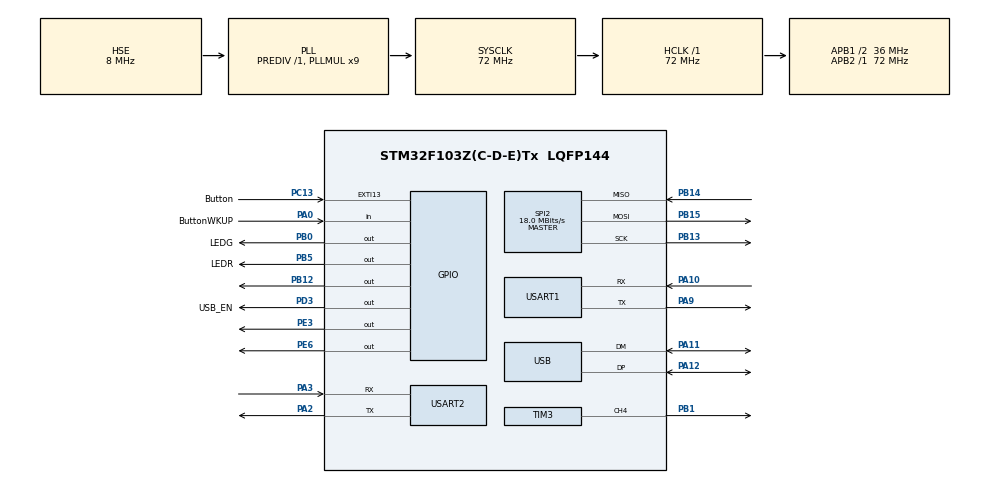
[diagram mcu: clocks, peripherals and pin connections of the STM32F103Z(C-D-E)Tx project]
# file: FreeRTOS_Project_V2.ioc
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Dma.Request0=USART2_RX
Dma.USART2_RX.0.Direction=DMA_PERIPH_TO_MEMORY
Dma.USART2_RX.0.Instance=DMA1_Channel6
Dma.USART2_RX.0.MemDataAlignment=DMA_MDATAALIGN_BYTE
Dma.USART2_RX.0.MemInc=DMA_MINC_ENABLE
Dma.USART2_RX.0.Mode=DMA_CIRCULAR
Dma.USART2_RX.0.PeriphDataAlignment=DMA_PDATAALIGN_BYTE
Dma.USART2_RX.0.PeriphInc=DMA_PINC_DISABLE
Dma.USART2_RX.0.Priority=DMA_PRIORITY_LOW
FREERTOS.BinarySemaphores01=BinarySemButton,Dynamic,NULL,Depleted;BinarySemUart,Dynamic,NULL,Depleted
FREERTOS.Events01=LedTriggerEvent,Dynamic,NULL;UartEvent,Dynamic,NULL
FREERTOS.INCLUDE_xTaskGetHandle=1
FREERTOS.Queues01=CommandQueue,32,Command_t *,0,Dynamic,NULL,NULL;ResponseQueue,16,Response_t *,0,Dynamic,NULL,NULL
FREERTOS.Tasks01=HidTask,24,128,HidAdapterTask,As weak,NULL,Dynamic,NULL,NULL;UartTask,40,128,UartAdapterTask,As weak,NULL,Dynamic,NULL,NULL;ButtonTask,24,128,ButtonAdapterTask,As weak,NULL,Dynamic,NULL,NULL;CommandDispTask,41,128,CommandDispatcherTask,As weak,NULL,Dynamic,NULL,NULL;RespoMangerTask,41,128,ResponseManagerTask,As weak,NULL,Dynamic,NULL,NULL
FREERTOS.Timers01=BreathLedTimer,BreathLedCallback,osTimerPeriodic,As weak,NULL,Dynamic,NULL;BrtLedStaTimer,BrtLedStaCallback,osTimerOnce,As weak,NULL,Dynamic,NULL
FREERTOS.configMAX_TASK_NAME_LEN=32
FREERTOS.configRECORD_STACK_HIGH_ADDRESS=1
FREERTOS.configTOTAL_HEAP_SIZE=16384
FREERTOS.configUSE_STATS_FORMATTING_FUNCTIONS=1
Mcu.Family=STM32F1
Mcu.Name=STM32F103Z(C-D-E)Tx
Mcu.Package=LQFP144
NVIC.DMA1_Channel6_IRQn=true\:5\:0\:false\:false\:true\:true\:false\:true\:true
NVIC.EXTI15_10_IRQn=true\:5\:0\:false\:false\:true\:true\:true\:true\:true
NVIC.PriorityGroup=NVIC_PRIORITYGROUP_4
NVIC.TIM7_IRQn=true\:15\:0\:false\:false\:true\:false\:false\:true\:true
NVIC.TimeBase=TIM7_IRQn
NVIC.TimeBaseIP=TIM7
NVIC.USART1_IRQn=true\:5\:0\:false\:false\:true\:true\:true\:true\:true
NVIC.USART2_IRQn=true\:5\:0\:false\:false\:true\:true\:true\:true\:true
NVIC.USB_LP_CAN1_RX0_IRQn=true\:5\:0\:false\:false\:true\:true\:false\:true\:true
OSC_IN.Mode=HSE-External-Oscillator
OSC_IN.Signal=RCC_OSC_IN
OSC_OUT.Mode=HSE-External-Oscillator
OSC_OUT.Signal=RCC_OSC_OUT
PA0-WKUP.GPIO_Label=ButtonWKUP
PA0-WKUP.GPIO_PuPd=GPIO_PULLDOWN
PA0-WKUP.Signal=GPIO_Input
PA10.Mode=Asynchronous
PA10.Signal=USART1_RX
PA11.Mode=Device
PA11.Signal=USB_DM
PA12.Mode=Device
PA12.Signal=USB_DP
PA13.Mode=Serial_Wire
PA13.Signal=SYS_JTMS-SWDIO
PA14.Mode=Serial_Wire
PA14.Signal=SYS_JTCK-SWCLK
PA2.Mode=Asynchronous
PA2.Signal=USART2_TX
PA3.Mode=Asynchronous
PA3.Signal=USART2_RX
PA9.Mode=Asynchronous
PA9.Signal=USART1_TX
PB0.GPIO_Label=LEDG
PB0.Signal=GPIO_Output
PB1.Signal=S_TIM3_CH4
PB12.GPIO_Speed=GPIO_SPEED_FREQ_HIGH
PB12.Signal=GPIO_Output
PB13.Mode=Full_Duplex_Master
PB13.Signal=SPI2_SCK
PB14.Mode=Full_Duplex_Master
PB14.Signal=SPI2_MISO
PB15.Mode=Full_Duplex_Master
PB15.Signal=SPI2_MOSI
PB5.GPIO_Label=LEDR
PB5.PinState=GPIO_PIN_RESET
PB5.Signal=GPIO_Output
PC13-TAMPER-RTC.GPIO_Label=Button
PC13-TAMPER-RTC.GPIO_PuPd=GPIO_NOPULL
PC13-TAMPER-RTC.Signal=GPXTI13
PC14-OSC32_IN.Mode=LSE-External-Oscillator
PC14-OSC32_IN.Signal=RCC_OSC32_IN
PC15-OSC32_OUT.Mode=LSE-External-Oscillator
PC15-OSC32_OUT.Signal=RCC_OSC32_OUT
PD3.GPIO_Label=USB_EN
PD3.Signal=GPIO_Output
PE3.Signal=GPIO_Output
PE6.Signal=GPIO_Output
ProjectManager.HeapSize=0x200
ProjectManager.StackSize=0x400
ProjectManager.TargetToolchain=CMake
RCC.AHBFreq_Value=72000000
RCC.APB1CLKDivider=RCC_HCLK_DIV2
RCC.APB1Freq_Value=36000000
RCC.APB1TimFreq_Value=72000000
RCC.APB2Freq_Value=72000000
RCC.APB2TimFreq_Value=72000000
RCC.HCLKFreq_Value=72000000
RCC.PLLMUL=RCC_PLL_MUL9
RCC.PLLSourceVirtual=RCC_PLLSOURCE_HSE
RCC.SYSCLKFreq_VALUE=72000000
RCC.SYSCLKSource=RCC_SYSCLKSOURCE_PLLCLK
RCC.USBFreq_Value=48000000
RCC.USBPrescaler=RCC_USBCLKSOURCE_PLL_DIV1_5
SH.S_TIM3_CH4.0=TIM3_CH4,PWM Generation4 CH4
SPI2.CalculateBaudRate=18.0 MBits/s
SPI2.Direction=SPI_DIRECTION_2LINES
SPI2.Mode=SPI_MODE_MASTER
SPI2.VirtualType=VM_MASTER
TIM3.Channel-PWM\ Generation4\ CH4=TIM_CHANNEL_4
TIM3.OCMode_PWM-PWM\ Generation4\ CH4=TIM_OCMODE_PWM1
TIM3.OCPolarity_4=TIM_OCPOLARITY_LOW
TIM3.Period=999
TIM3.Prescaler=72
USART1.VirtualMode=VM_ASYNC
USART2.VirtualMode=VM_ASYNC
USB_DEVICE.CLASS_NAME_FS=CUSTOM_HID
USB_DEVICE.USBD_CUSTOMHID_OUTREPORT_BUF_SIZE=64
USB_DEVICE.USBD_CUSTOM_HID_REPORT_DESC_SIZE=41
USB_DEVICE.VirtualMode=CustomHid
USB_DEVICE.VirtualModeFS=Custom_Hid_FS
VP_FREERTOS_VS_CMSIS_V2.Mode=CMSIS_V2
VP_SYS_VS_tim7.Mode=TIM7
VP_TIM3_VS_ClockSourceINT.Mode=Internal
VP_USB_DEVICE_VS_USB_DEVICE_CUSTOM_HID_FS.Mode=CUSTOM_HID_FS
board=custom

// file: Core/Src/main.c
/* USER CODE BEGIN Header */
/**
  ******************************************************************************
  * @file           : main.c
  * @brief          : Main program body
  ******************************************************************************
  * @attention
  *
  * Copyright (c) 2026 STMicroelectronics.
  * All rights reserved.
  *
  * This software is licensed under terms that can be found in the LICENSE file
  * in the root directory of this software component.
  * If no LICENSE file comes with this software, it is provided AS-IS.
  *
  ******************************************************************************
  */
/* USER CODE END Header */
#include "main.h"
#include "cmsis_os.h"
#include "dma.h"
#include "spi.h"
#include "tim.h"
#include "usart.h"
#include "usb_device.h"
#include "gpio.h"

void SystemClock_Config(void);
void MX_FREERTOS_Init(void);

int main(void)
{

  /* MCU Configuration--------------------------------------------------------*/

  /* Reset of all peripherals, Initializes the Flash interface and the Systick. */
  HAL_Init();

  /* Configure the system clock */
  SystemClock_Config();

  /* Initialize all configured peripherals */
  MX_GPIO_Init();
  MX_DMA_Init();
  MX_USART1_UART_Init();
  MX_TIM3_Init();
  MX_SPI2_Init();
  MX_USART2_UART_Init();

  /* Init scheduler */
  osKernelInitialize();  /* Call init function for freertos objects (in cmsis_os2.c) */
  MX_FREERTOS_Init();

  /* Start scheduler */
  osKernelStart();

  /* We should never get here as control is now taken by the scheduler */

  /* Infinite loop */
  while (1)
  {

  }
}

void SystemClock_Config(void)
{
  RCC_OscInitTypeDef RCC_OscInitStruct = {0};
  RCC_ClkInitTypeDef RCC_ClkInitStruct = {0};
  RCC_PeriphCLKInitTypeDef PeriphClkInit = {0};

  /** Initializes the RCC Oscillators according to the specified parameters
  * in the RCC_OscInitTypeDef structure.
  */
  RCC_OscInitStruct.OscillatorType = RCC_OSCILLATORTYPE_HSE;
  RCC_OscInitStruct.HSEState = RCC_HSE_ON;
  RCC_OscInitStruct.HSEPredivValue = RCC_HSE_PREDIV_DIV1;
  RCC_OscInitStruct.HSIState = RCC_HSI_ON;
  RCC_OscInitStruct.PLL.PLLState = RCC_PLL_ON;
  RCC_OscInitStruct.PLL.PLLSource = RCC_PLLSOURCE_HSE;
  RCC_OscInitStruct.PLL.PLLMUL = RCC_PLL_MUL9;
  if (HAL_RCC_OscConfig(&RCC_OscInitStruct) != HAL_OK)
  {
    Error_Handler();
  }

  /** Initializes the CPU, AHB and APB buses clocks
  */
  RCC_ClkInitStruct.ClockType = RCC_CLOCKTYPE_HCLK|RCC_CLOCKTYPE_SYSCLK
                              |RCC_CLOCKTYPE_PCLK1|RCC_CLOCKTYPE_PCLK2;
  RCC_ClkInitStruct.SYSCLKSource = RCC_SYSCLKSOURCE_PLLCLK;
  RCC_ClkInitStruct.AHBCLKDivider = RCC_SYSCLK_DIV1;
  RCC_ClkInitStruct.APB1CLKDivider = RCC_HCLK_DIV2;
  RCC_ClkInitStruct.APB2CLKDivider = RCC_HCLK_DIV1;

  if (HAL_RCC_ClockConfig(&RCC_ClkInitStruct, FLASH_LATENCY_2) != HAL_OK)
  {
    Error_Handler();
  }
  PeriphClkInit.PeriphClockSelection = RCC_PERIPHCLK_USB;
  PeriphClkInit.UsbClockSelection = RCC_USBCLKSOURCE_PLL_DIV1_5;
  if (HAL_RCCEx_PeriphCLKConfig(&PeriphClkInit) != HAL_OK)
  {
    Error_Handler();
  }
}

void HAL_TIM_PeriodElapsedCallback(TIM_HandleTypeDef *htim)
{
  if (htim->Instance == TIM7)
  {
    HAL_IncTick();
  }
}

void Error_Handler(void)
{
  __disable_irq();
  while (1)
  {
  }
}

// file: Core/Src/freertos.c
/* USER CODE BEGIN Header */
/**
  ******************************************************************************
  * File Name          : freertos.c
  * Description        : Code for freertos applications
  ******************************************************************************
  * @attention
  *
  * Copyright (c) 2026 STMicroelectronics.
  * All rights reserved.
  *
  * This software is licensed under terms that can be found in the LICENSE file
  * in the root directory of this software component.
  * If no LICENSE file comes with this software, it is provided AS-IS.
  *
  ******************************************************************************
  */
/* USER CODE END Header */

#include "FreeRTOS.h"
#include "task.h"
#include "main.h"
#include "cmsis_os.h"

/* USER CODE BEGIN Includes */
#include <stdio.h>
#include "inputAdapters.h"
#include "CommandDispatcher.h"
#include "ResponseManager.h"
#include "LedController.h"
#include "SystemMonitor.h"
// #include "OledShowController.h"
/* USER CODE END Includes */

/* Definitions for HidTask */
osThreadId_t HidTaskHandle;
const osThreadAttr_t HidTask_attributes = {
  .name = "HidTask",
  .stack_size = 128 * 4,
  .priority = (osPriority_t) osPriorityNormal,
};
/* Definitions for UartTask */
osThreadId_t UartTaskHandle;
const osThreadAttr_t UartTask_attributes = {
  .name = "UartTask",
  .stack_size = 128 * 4,
  .priority = (osPriority_t) osPriorityHigh,
};
/* Definitions for ButtonTask */
osThreadId_t ButtonTaskHandle;
const osThreadAttr_t ButtonTask_attributes = {
  .name = "ButtonTask",
  .stack_size = 128 * 4,
  .priority = (osPriority_t) osPriorityNormal,
};
/* Definitions for CommandDispTask */
osThreadId_t CommandDispTaskHandle;
const osThreadAttr_t CommandDispTask_attributes = {
  .name = "CommandDispTask",
  .stack_size = 128 * 4,
  .priority = (osPriority_t) osPriorityHigh1,
};
/* Definitions for RespoMangerTask */
osThreadId_t RespoMangerTaskHandle;
const osThreadAttr_t RespoMangerTask_attributes = {
  .name = "RespoMangerTask",
  .stack_size = 128 * 4,
  .priority = (osPriority_t) osPriorityHigh1,
};
/* Definitions for CommandQueue */
osMessageQueueId_t CommandQueueHandle;
const osMessageQueueAttr_t CommandQueue_attributes = {
  .name = "CommandQueue"
};
/* Definitions for ResponseQueue */
osMessageQueueId_t ResponseQueueHandle;
const osMessageQueueAttr_t ResponseQueue_attributes = {
  .name = "ResponseQueue"
};
/* Definitions for BreathLedTimer */
osTimerId_t BreathLedTimerHandle;
const osTimerAttr_t BreathLedTimer_attributes = {
  .name = "BreathLedTimer"
};
/* Definitions for BrtLedStaTimer */
osTimerId_t BrtLedStaTimerHandle;
const osTimerAttr_t BrtLedStaTimer_attributes = {
  .name = "BrtLedStaTimer"
};
/* Definitions for BinarySemButton */
osSemaphoreId_t BinarySemButtonHandle;
const osSemaphoreAttr_t BinarySemButton_attributes = {
  .name = "BinarySemButton"
};
/* Definitions for BinarySemUart */
osSemaphoreId_t BinarySemUartHandle;
const osSemaphoreAttr_t BinarySemUart_attributes = {
  .name = "BinarySemUart"
};
/* Definitions for LedTriggerEvent */
osEventFlagsId_t LedTriggerEventHandle;
const osEventFlagsAttr_t LedTriggerEvent_attributes = {
  .name = "LedTriggerEvent"
};
/* Definitions for UartEvent */
osEventFlagsId_t UartEventHandle;
const osEventFlagsAttr_t UartEvent_attributes = {
  .name = "UartEvent"
};

void HidAdapterTask(void *argument);
void UartAdapterTask(void *argument);
void ButtonAdapterTask(void *argument);
void CommandDispatcherTask(void *argument);
void ResponseManagerTask(void *argument);
void BreathLedCallback(void *argument);
void BrtLedStaCallback(void *argument);

extern void MX_USB_DEVICE_Init(void);
void MX_FREERTOS_Init(void); /* (MISRA C 2004 rule 8.1) */

void MX_FREERTOS_Init(void) {
  /* USER CODE BEGIN Init */
  // 初始化各模块
  LedController_Init();
  // OLED_Init();
  // OLED_Clear(0);
  // OLED_Test_Menu3();
  SystemMonitor_Init();
  /* USER CODE END Init */

  /* Create the semaphores(s) */
  /* creation of BinarySemButton */
  BinarySemButtonHandle = osSemaphoreNew(1, 0, &BinarySemButton_attributes);

  /* creation of BinarySemUart */
  BinarySemUartHandle = osSemaphoreNew(1, 0, &BinarySemUart_attributes);

  /* Create the timer(s) */
  /* creation of BreathLedTimer */
  BreathLedTimerHandle = osTimerNew(BreathLedCallback, osTimerPeriodic, NULL, &BreathLedTimer_attributes);

  /* creation of BrtLedStaTimer */
  BrtLedStaTimerHandle = osTimerNew(BrtLedStaCallback, osTimerOnce, NULL, &BrtLedStaTimer_attributes);

  /* USER CODE BEGIN RTOS_TIMERS */
  /* start timers, add new ones, ... */
  /* creation of CommandQueue - 统一命令队列 */
  //CommandQueueHandle = osMessageQueueNew(32, sizeof(Command_t), &CommandQueue_attributes);

  /* creation of ResponseQueue - 统一响应队列 */
  //ResponseQueueHandle = osMessageQueueNew(16, sizeof(Response_t), &ResponseQueue_attributes);

  /* USER CODE END RTOS_TIMERS */

  /* Create the queue(s) */
  /* creation of CommandQueue */
  CommandQueueHandle = osMessageQueueNew (32, sizeof(Command_t *), &CommandQueue_attributes);

  /* creation of ResponseQueue */
  ResponseQueueHandle = osMessageQueueNew (16, sizeof(Response_t *), &ResponseQueue_attributes);

  /* USER CODE BEGIN RTOS_QUEUES */
  /* add queues, ... */
  HidInputAdapter_Init(CommandQueueHandle);
  UartInputAdapter_Init(CommandQueueHandle);
  ButtonInputAdapter_Init(CommandQueueHandle);
  CommandDispatcher_Init(CommandQueueHandle, ResponseQueueHandle);
  ResponseManager_Init(ResponseQueueHandle);
  /* USER CODE END RTOS_QUEUES */

  /* Create the thread(s) */
  /* creation of HidTask */
  HidTaskHandle = osThreadNew(HidAdapterTask, NULL, &HidTask_attributes);

  /* creation of UartTask */
  UartTaskHandle = osThreadNew(UartAdapterTask, NULL, &UartTask_attributes);

  /* creation of ButtonTask */
  ButtonTaskHandle = osThreadNew(ButtonAdapterTask, NULL, &ButtonTask_attributes);

  /* creation of CommandDispTask */
  CommandDispTaskHandle = osThreadNew(CommandDispatcherTask, NULL, &CommandDispTask_attributes);

  /* creation of RespoMangerTask */
  RespoMangerTaskHandle = osThreadNew(ResponseManagerTask, NULL, &RespoMangerTask_attributes);

  /* Create the event(s) */
  /* creation of LedTriggerEvent */
  LedTriggerEventHandle = osEventFlagsNew(&LedTriggerEvent_attributes);

  /* creation of UartEvent */
  UartEventHandle = osEventFlagsNew(&UartEvent_attributes);

}

__weak void HidAdapterTask(void *argument)
{
  /* init code for USB_DEVICE */
  MX_USB_DEVICE_Init();
  for(;;)
  {
    osDelay(1);
  }
}

__weak void UartAdapterTask(void *argument)
{
  for(;;)
  {
    osDelay(1);
  }
}

__weak void ButtonAdapterTask(void *argument)
{
  for(;;)
  {
    osDelay(1);
  }
}

__weak void CommandDispatcherTask(void *argument)
{
  for(;;)
  {
    osDelay(1);
  }
}

__weak void ResponseManagerTask(void *argument)
{
  for(;;)
  {
    osDelay(1);
  }
}

/* BreathLedCallback function */
__weak void BreathLedCallback(void *argument)
{
}

/* BrtLedStaCallback function */
__weak void BrtLedStaCallback(void *argument)
{
}

/* USER CODE BEGIN Application */

// 调试辅助函数: 打印所有运行中的任务
#include "task.h"

#ifdef DEBUG_MEMORY
#include <stdlib.h>

typedef struct {
    void *ptr;
    size_t size;
    const char *file;
    int line;
    uint32_t timestamp;
} MemAllocRecord_t;

#define MAX_ALLOC_RECORDS 100
static MemAllocRecord_t alloc_records[MAX_ALLOC_RECORDS];
static uint16_t record_count = 0;
static uint32_t total_allocated = 0;
static uint32_t total_freed = 0;

/**
  * @brief  调试版内存分配
  */
void* debug_malloc(size_t size, const char *file, int line)
{
    void *ptr = pvPortMalloc(size);

    if (ptr != NULL && record_count < MAX_ALLOC_RECORDS) {
        alloc_records[record_count].ptr = ptr;
        alloc_records[record_count].size = size;
        alloc_records[record_count].file = file;
        alloc_records[record_count].line = line;
        alloc_records[record_count].timestamp = osKernelGetTickCount();
        record_count++;
        total_allocated += size;

        printf("[MEM] Alloc %d bytes at %p (%s:%d)\n", size, ptr, file, line);
    }

    return ptr;
}

/**
  * @brief  调试版内存释放
  */
void debug_free(void *ptr, const char *file, int line)
{
    if (ptr == NULL) {
        printf("[MEM] ❌ Attempt to free NULL pointer (%s:%d)\n", file, line);
        return;
    }

    // 查找记录
    int found = 0;
    for (uint16_t i = 0; i < record_count; i++) {
        if (alloc_records[i].ptr == ptr) {
            total_freed += alloc_records[i].size;
            // 清除记录
            alloc_records[i].ptr = NULL;
            found = 1;
            break;
        }
    }

    if (!found) {
        printf("[MEM] ❌ Double free or invalid pointer at %p (%s:%d)\n", ptr, file, line);
    } else {
        printf("[MEM] Free %p (%s:%d)\n", ptr, file, line);
    }

    vPortFree(ptr);
}

/**
  * @brief  打印内存统计信息
  */
void memory_stats_print(void)
{
    printf("\n========== Memory Statistics ==========\n");
    printf("Total allocated: %lu bytes\n", total_allocated);
    printf("Total freed:     %lu bytes\n", total_freed);
    printf("Net allocated:   %lu bytes\n", total_allocated - total_freed);
    printf("Active records:  %d / %d\n", record_count, MAX_ALLOC_RECORDS);
    printf("Free heap:       %d bytes\n", xPortGetFreeHeapSize());

    // 检查未释放的内存
    uint16_t leak_count = 0;
    printf("\nUnfreed allocations:\n");
    for (uint16_t i = 0; i < record_count; i++) {
        if (alloc_records[i].ptr != NULL) {
            printf("  [%d] %p, %d bytes, %s:%d, tick=%lu\n",
                   leak_count++,
                   alloc_records[i].ptr,
                   alloc_records[i].size,
                   alloc_records[i].file,
                   alloc_records[i].line,
                   alloc_records[i].timestamp);
        }
    }

    if (leak_count == 0) {
        printf("  ✅ No memory leaks detected\n");
    } else {
        printf("  ⚠️⚠️⚠️ WARNING: %d memory leaks detected!\n", leak_count);
    }
    printf("========================================\n\n");
}
#endif

void PrintTaskList(void)
{
    TaskStatus_t *pxTaskStatusArray;
    volatile UBaseType_t uxArraySize, x;
    uint32_t ulTotalRunTime, ulStatsAsPercentage;

    // 获取任务数量
    uxArraySize = uxTaskGetNumberOfTasks();
    printf("\n=== FreeRTOS Task List (%ld tasks) ===\n", uxArraySize);

    // 分配状态数组
    pxTaskStatusArray = pvPortMalloc(uxArraySize * sizeof(TaskStatus_t));

    if (pxTaskStatusArray != NULL) {
        // 获取任务状态
        uxArraySize = uxTaskGetSystemState(pxTaskStatusArray, uxArraySize, &ulTotalRunTime);

        printf("%-20s %-8s %-10s %-10s %s\n", "Task Name", "State", "Priority", "Stack HW", "Status");
        printf("------------------------------------------------------------------------\n");

        for (x = 0; x < uxArraySize; x++) {
            const char *pcStatus;
            const char *pcStackStatus = "OK";

            // 确定任务状态
            switch (pxTaskStatusArray[x].eCurrentState) {
                case eRunning:      pcStatus = "Running";   break;
                case eReady:        pcStatus = "Ready";     break;
                case eBlocked:      pcStatus = "Blocked";   break;
                case eSuspended:    pcStatus = "Suspended"; break;
                case eDeleted:      pcStatus = "Deleted";   break;
                default:            pcStatus = "Unknown";   break;
            }

            // ✅ 检查栈高水位标记,判断是否接近溢出
            uint16_t stackHW = pxTaskStatusArray[x].usStackHighWaterMark;
            if (stackHW < 50) {
                pcStackStatus = "⚠️ DANGER";  // 剩余<50字,极度危险
            } else if (stackHW < 100) {
                pcStackStatus = "⚠️ WARN";    // 剩余<100字,需要关注
            }

            // 计算栈高水位标记
            printf("%-20s %-8s %-10ld %-10d %s\n",
                   pxTaskStatusArray[x].pcTaskName,
                   pcStatus,
                   pxTaskStatusArray[x].uxCurrentPriority,
                   stackHW,
                   pcStackStatus);
        }

        vPortFree(pxTaskStatusArray);
        printf("========================================================================\n\n");
    } else {
        printf("[ERROR] Failed to allocate memory for task list\n");
    }
}

/**
  * @brief  检查指定任务的栈使用情况
  * @param  taskName: 任务名称
  */
void CheckTaskStack(const char *taskName)
{
    TaskHandle_t hTask = xTaskGetHandle(taskName);
    if (hTask != NULL) {
        uint16_t stackHW = uxTaskGetStackHighWaterMark(hTask);
        printf("[Stack Check] Task '%s': High Watermark = %d words (%d bytes)\n",
               taskName, stackHW, stackHW * 4);

        if (stackHW < 50) {
            printf("  ⚠️⚠️⚠️ CRITICAL: Stack nearly exhausted! Increase stack size immediately!\n");
        } else if (stackHW < 100) {
            printf("  ⚠️ WARNING: Stack usage is high. Consider increasing stack size.\n");
        } else {
            printf("  ✅ Stack usage is normal.\n");
        }
    } else {
        printf("[ERROR] Task '%s' not found\n", taskName);
    }
}

/* USER CODE END Application */
